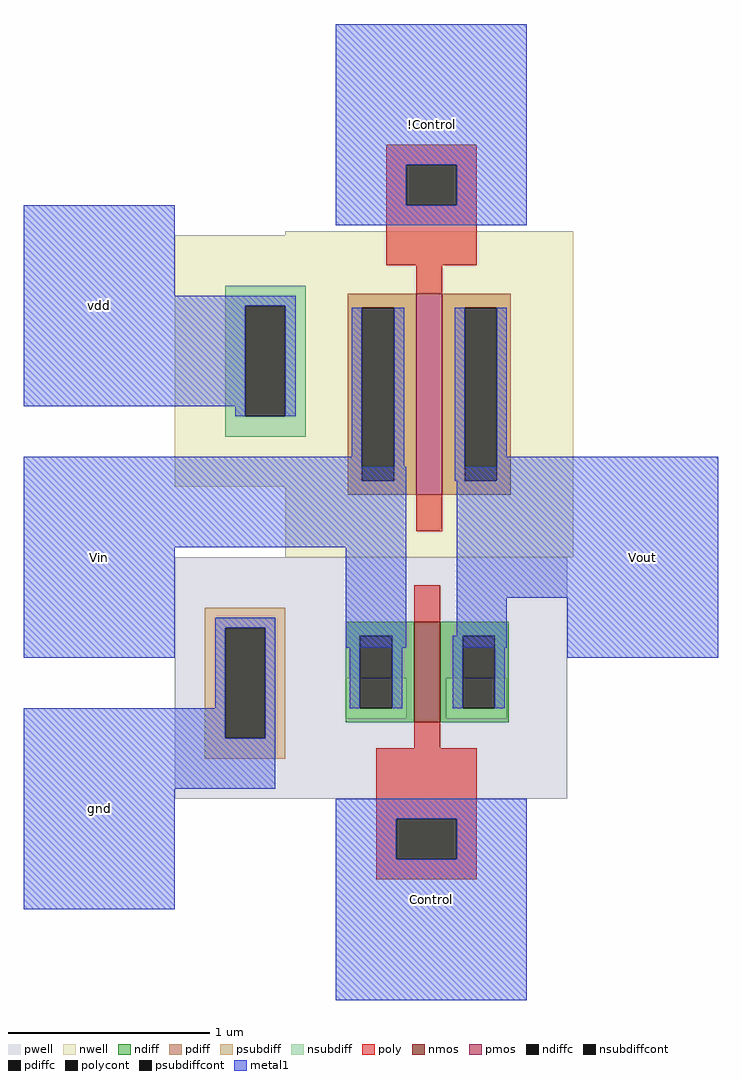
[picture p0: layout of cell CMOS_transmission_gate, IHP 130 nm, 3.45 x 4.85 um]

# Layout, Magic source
magic
tech ihp-sg13g2
magscale 1 2
<< nwell >>
rect 530 -1380 690 -1330
rect 530 -1520 660 -1380
rect 670 -1520 690 -1380
rect 530 -1550 690 -1520
rect 530 -1580 640 -1550
<< pwell >>
rect 530 -1770 920 -1650
rect 530 -1810 700 -1770
rect 760 -1810 800 -1770
rect 860 -1810 920 -1770
rect 530 -1890 920 -1810
<< psubdiff >>
rect 560 -1720 640 -1700
rect 560 -1830 580 -1720
rect 620 -1830 640 -1720
rect 560 -1850 640 -1830
<< nsubdiff >>
rect 580 -1400 660 -1380
rect 580 -1510 600 -1400
rect 640 -1510 660 -1400
rect 580 -1530 660 -1510
<< psubdiffcont >>
rect 580 -1830 620 -1720
<< nsubdiffcont >>
rect 600 -1510 640 -1400
<< poly >>
rect 740 -1260 830 -1240
rect 740 -1300 760 -1260
rect 810 -1300 830 -1260
rect 740 -1360 830 -1300
rect 730 -1910 830 -1840
rect 730 -1950 750 -1910
rect 810 -1950 830 -1910
rect 730 -1970 830 -1950
<< polycont >>
rect 760 -1300 810 -1260
rect 750 -1950 810 -1910
<< metal1 >>
rect 690 -1260 880 -1120
rect 690 -1300 760 -1260
rect 810 -1300 880 -1260
rect 380 -1390 530 -1300
rect 690 -1320 880 -1300
rect 380 -1400 650 -1390
rect 380 -1500 600 -1400
rect 590 -1510 600 -1500
rect 640 -1510 650 -1400
rect 380 -1560 710 -1550
rect 860 -1560 1070 -1550
rect 380 -1640 760 -1560
rect 380 -1750 530 -1640
rect 570 -1720 630 -1710
rect 570 -1800 580 -1720
rect 380 -1830 580 -1800
rect 620 -1830 630 -1720
rect 700 -1740 760 -1640
rect 810 -1690 1070 -1560
rect 810 -1740 860 -1690
rect 920 -1750 1070 -1690
rect 380 -1880 630 -1830
rect 380 -2000 530 -1880
rect 690 -1910 880 -1890
rect 690 -1950 750 -1910
rect 810 -1950 880 -1910
rect 690 -2090 880 -1950
use sg13_lv_nmos_TCSPJJ  XM1
transform 1 0 781 0 1 -1764
box -81 -86 81 86
use sg13_lv_pmos_LDAKWR  XM2
transform 1 0 783 0 1 -1488
box -143 -162 143 162
<< labels >>
flabel metal1 690 -1320 880 -1120 0 FreeSans 256 0 0 0 !Control
port 0 nsew
flabel metal1 920 -1750 1070 -1550 0 FreeSans 256 0 0 0 Vout
port 3 nsew
flabel metal1 380 -1750 530 -1550 0 FreeSans 256 0 0 0 Vin
port 2 nsew
flabel metal1 380 -2000 530 -1800 0 FreeSans 256 0 0 0 gnd
port 4 nsew
flabel metal1 380 -1500 530 -1300 0 FreeSans 256 0 0 0 vdd
port 1 nsew
flabel metal1 690 -2090 880 -1890 0 FreeSans 256 0 0 0 Control
port 5 nsew
<< end >>

# cell sg13_lv_nmos_TCSPJJ: kit device sg13_lv_nmos, w 0.5 l 0.13 m 1 nf 1 diffcov 100 polycov 100 guard 0 glc 1 grc 1 gtc 1 gbc 1 tbcov 100 rlcov 100 topc 0 botc 0 poverlap 0 doverlap 1 lmin 0.13 wmin 0.15 class mosfet compatible {sg13_lv_nmos sg13_hv_nmos} full_metal 1 conn_gates 0 gate_ring 0 doports 1 viasrc 0 viadrn 0 viagate 0 ccols 1 viagb 0 viagr 0 viagl 0 viagt 0

# cell sg13_lv_pmos_LDAKWR: kit device sg13_lv_pmos, w 1 l 0.13 m 1 nf 1 diffcov 100 polycov 100 guard 0 glc 1 grc 1 gtc 1 gbc 1 tbcov 100 rlcov 100 topc 0 botc 0 poverlap 0 doverlap 1 lmin 0.13 wmin 0.15 class mosfet compatible {sg13_lv_pmos sg13_hv_pmos} full_metal 1 conn_gates 0 gate_ring 0 ccols 1 viasrc 0 viadrn 0 viagate 0 viagb 0 viagr 0 viagl 0 viagt 0 doports 1
